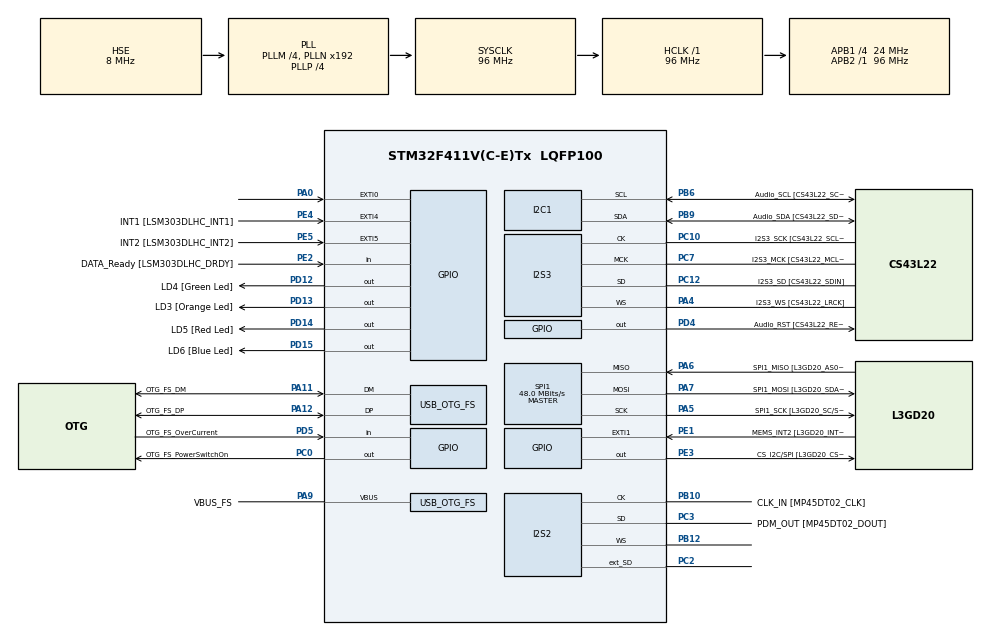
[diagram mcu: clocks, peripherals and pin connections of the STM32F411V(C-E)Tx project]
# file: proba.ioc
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FREERTOS.Tasks01=defaultTask,24,128,StartDefaultTask,Default,NULL,Dynamic,NULL,NULL
FREERTOS.configUSE_NEWLIB_REENTRANT=1
I2C1.DutyCycle=I2C_DUTYCYCLE_16_9
I2C1.I2C_Mode=I2C_Fast
I2S2.AudioFreq=I2S_AUDIOFREQ_96K
I2S2.ErrorAudioFreq=0.15 %
I2S2.FullDuplexMode=I2S_FULLDUPLEXMODE_ENABLE
I2S2.Instance=SPI$Index
I2S2.RealAudioFreq=96.153 KHz
I2S2.VirtualMode=I2S_MODE_MASTER
I2S3.AudioFreq=I2S_AUDIOFREQ_96K
I2S3.ErrorAudioFreq=-6.99 %
I2S3.FullDuplexMode=I2S_FULLDUPLEXMODE_DISABLE
I2S3.Instance=SPI$Index
I2S3.RealAudioFreq=89.285 KHz
I2S3.VirtualMode=I2S_MODE_MASTER
Mcu.Family=STM32F4
Mcu.Name=STM32F411V(C-E)Tx
Mcu.Package=LQFP100
NVIC.OTG_FS_IRQn=true\:5\:0\:false\:false\:true\:true\:true\:true\:true
NVIC.PriorityGroup=NVIC_PRIORITYGROUP_4
NVIC.TIM2_IRQn=true\:15\:0\:false\:false\:true\:false\:false\:true\:true
NVIC.TimeBase=TIM2_IRQn
NVIC.TimeBaseIP=TIM2
PA0-WKUP.GPIO_ModeDefaultEXTI=GPIO_MODE_EVT_RISING
PA0-WKUP.Signal=GPXTI0
PA10.GPIO_Label=OTG_FS_ID
PA10.Signal=USB_OTG_FS_ID
PA11.GPIO_Label=OTG_FS_DM
PA11.Mode=Device_Only
PA11.Signal=USB_OTG_FS_DM
PA12.GPIO_Label=OTG_FS_DP
PA12.Mode=Device_Only
PA12.Signal=USB_OTG_FS_DP
PA13.GPIO_Label=SWDIO
PA13.Mode=Serial_Wire
PA13.Signal=SYS_JTMS-SWDIO
PA14.GPIO_Label=SWCLK
PA14.Mode=Serial_Wire
PA14.Signal=SYS_JTCK-SWCLK
PA4.GPIO_Label=I2S3_WS [CS43L22_LRCK]
PA4.GPIO_Mode=GPIO_MODE_AF_PP
PA4.GPIO_PuPd=GPIO_NOPULL
PA4.GPIO_Speed=GPIO_SPEED_FREQ_LOW
PA4.Mode=Half_Duplex_Master
PA4.Signal=I2S3_WS
PA5.GPIO_Label=SPI1_SCK [L3GD20_SC/SPC]
PA5.Mode=Full_Duplex_Master
PA5.Signal=SPI1_SCK
PA6.GPIO_Label=SPI1_MISO [L3GD20_AS0/SDO]
PA6.Mode=Full_Duplex_Master
PA6.Signal=SPI1_MISO
PA7.GPIO_Label=SPI1_MOSI [L3GD20_SDA/SDI/SDO]
PA7.Mode=Full_Duplex_Master
PA7.Signal=SPI1_MOSI
PA9.GPIO_Label=VBUS_FS
PA9.Mode=Activate_VBUS
PA9.Signal=USB_OTG_FS_VBUS
PB10.GPIO_Label=CLK_IN [MP45DT02_CLK]
PB10.Mode=Full_Duplex_Master
PB10.Signal=I2S2_CK
PB12.Mode=Full_Duplex_Master
PB12.Signal=I2S2_WS
PB3.GPIO_Label=SWO
PB3.Signal=SYS_JTDO-SWO
PB6.GPIO_Label=Audio_SCL [CS43L22_SCL]
PB6.GPIO_Mode=GPIO_MODE_AF_OD
PB6.GPIO_Pu=GPIO_PULLUP
PB6.GPIO_PuPd=GPIO_NOPULL
PB6.GPIO_Speed=GPIO_SPEED_FREQ_LOW
PB6.Mode=I2C
PB6.Signal=I2C1_SCL
PB9.GPIO_Label=Audio_SDA [CS43L22_SDA]
PB9.GPIO_Mode=GPIO_MODE_AF_OD
PB9.GPIO_Pu=GPIO_PULLUP
PB9.GPIO_PuPd=GPIO_NOPULL
PB9.GPIO_Speed=GPIO_SPEED_FREQ_LOW
PB9.Mode=I2C
PB9.Signal=I2C1_SDA
PC0.GPIO_Label=OTG_FS_PowerSwitchOn
PC0.PinState=GPIO_PIN_SET
PC0.Signal=GPIO_Output
PC10.GPIO_Label=I2S3_SCK [CS43L22_SCLK]
PC10.GPIO_Mode=GPIO_MODE_AF_PP
PC10.GPIO_PuPd=GPIO_NOPULL
PC10.GPIO_Speed=GPIO_SPEED_FREQ_LOW
PC10.Mode=Half_Duplex_Master
PC10.Signal=I2S3_CK
PC12.GPIO_Label=I2S3_SD [CS43L22_SDIN]
PC12.GPIO_Mode=GPIO_MODE_AF_PP
PC12.GPIO_PuPd=GPIO_NOPULL
PC12.GPIO_Speed=GPIO_SPEED_FREQ_LOW
PC12.Mode=Half_Duplex_Master
PC12.Signal=I2S3_SD
PC14-OSC32_IN.GPIO_Label=PC14-OSC32_IN
PC14-OSC32_IN.Mode=LSE-External-Oscillator
PC14-OSC32_IN.Signal=RCC_OSC32_IN
PC15-OSC32_OUT.GPIO_Label=PC15-OSC32_OUT
PC15-OSC32_OUT.Mode=LSE-External-Oscillator
PC15-OSC32_OUT.Signal=RCC_OSC32_OUT
PC2.Mode=Full_Duplex_Master
PC2.Signal=I2S2_ext_SD
PC3.GPIO_Label=PDM_OUT [MP45DT02_DOUT]
PC3.Mode=Full_Duplex_Master
PC3.Signal=I2S2_SD
PC7.GPIO_Label=I2S3_MCK [CS43L22_MCLK]
PC7.GPIO_Mode=GPIO_MODE_AF_PP
PC7.GPIO_PuPd=GPIO_NOPULL
PC7.GPIO_Speed=GPIO_SPEED_FREQ_LOW
PC7.Mode=Master_Clock_Activated
PC7.Signal=I2S3_MCK
PD12.GPIO_Label=LD4 [Green Led]
PD12.GPIO_PuPd=GPIO_NOPULL
PD12.GPIO_Speed=GPIO_SPEED_FREQ_LOW
PD12.Signal=GPIO_Output
PD13.GPIO_Label=LD3 [Orange Led]
PD13.GPIO_PuPd=GPIO_NOPULL
PD13.GPIO_Speed=GPIO_SPEED_FREQ_LOW
PD13.Signal=GPIO_Output
PD14.GPIO_Label=LD5 [Red Led]
PD14.GPIO_PuPd=GPIO_NOPULL
PD14.GPIO_Speed=GPIO_SPEED_FREQ_LOW
PD14.Signal=GPIO_Output
PD15.GPIO_Label=LD6 [Blue Led]
PD15.GPIO_PuPd=GPIO_NOPULL
PD15.GPIO_Speed=GPIO_SPEED_FREQ_LOW
PD15.Signal=GPIO_Output
PD4.GPIO_Label=Audio_RST [CS43L22_RESET]
PD4.Signal=GPIO_Output
PD5.GPIO_Label=OTG_FS_OverCurrent
PD5.Signal=GPIO_Input
PE1.GPIO_Label=MEMS_INT2 [L3GD20_INT2]
PE1.GPIO_ModeDefaultEXTI=GPIO_MODE_EVT_RISING
PE1.Signal=GPXTI1
PE2.GPIO_Label=DATA_Ready [LSM303DLHC_DRDY]
PE2.Signal=GPIO_Input
PE3.GPIO_Label=CS_I2C/SPI [L3GD20_CS_I2C/SPI]
PE3.Signal=GPIO_Output
PE4.GPIO_Label=INT1 [LSM303DLHC_INT1]
PE4.GPIO_ModeDefaultEXTI=GPIO_MODE_EVT_RISING
PE4.Signal=GPXTI4
PE5.GPIO_Label=INT2 [LSM303DLHC_INT2]
PE5.GPIO_ModeDefaultEXTI=GPIO_MODE_EVT_RISING
PE5.Signal=GPXTI5
PH0\ -\ OSC_IN.GPIO_Label=PH0-OSC_IN
PH0\ -\ OSC_IN.Mode=HSE-External-Oscillator
PH0\ -\ OSC_IN.Signal=RCC_OSC_IN
PH1\ -\ OSC_OUT.GPIO_Label=PH1-OSC_OUT
PH1\ -\ OSC_OUT.Mode=HSE-External-Oscillator
PH1\ -\ OSC_OUT.Signal=RCC_OSC_OUT
ProjectManager.HeapSize=0x200
ProjectManager.StackSize=0x400
ProjectManager.TargetToolchain=STM32CubeIDE
RCC.48MHZClocksFreq_Value=48000000
RCC.AHBFreq_Value=96000000
RCC.APB1CLKDivider=RCC_HCLK_DIV4
RCC.APB1Freq_Value=24000000
RCC.APB1TimFreq_Value=48000000
RCC.APB2Freq_Value=96000000
RCC.APB2TimFreq_Value=96000000
RCC.CortexFreq_Value=96000000
RCC.HCLKFreq_Value=96000000
RCC.HSE_VALUE=8000000
RCC.HSI_VALUE=16000000
RCC.PLLI2SM=5
RCC.PLLI2SN=200
RCC.PLLM=4
RCC.PLLP=RCC_PLLP_DIV4
RCC.PLLQ=8
RCC.SYSCLKFreq_VALUE=96000000
RCC.SYSCLKSource=RCC_SYSCLKSOURCE_PLLCLK
RCC.VCOOutputFreq_Value=384000000
SPI1.BaudRatePrescaler=SPI_BAUDRATEPRESCALER_2
SPI1.CalculateBaudRate=48.0 MBits/s
SPI1.Direction=SPI_DIRECTION_2LINES
SPI1.Mode=SPI_MODE_MASTER
SPI1.VirtualType=VM_MASTER
USB_DEVICE.CLASS_NAME_FS=CDC
USB_DEVICE.PRODUCT_STRING_CDC_FS=Skupina\: Skupina STM
USB_DEVICE.VirtualMode=Cdc
USB_DEVICE.VirtualModeFS=Cdc_FS
USB_OTG_FS.VirtualMode=Device_Only
VP_FREERTOS_VS_CMSIS_V2.Mode=CMSIS_V2
VP_SYS_VS_tim2.Mode=TIM2
VP_USB_DEVICE_VS_USB_DEVICE_CDC_FS.Mode=CDC_FS
board=STM32F411E-DISCO

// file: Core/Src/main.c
/* USER CODE BEGIN Header */
/**
  ******************************************************************************
  * @file           : main.c
  * @brief          : Main program body
  ******************************************************************************
  * @attention
  *
  * Copyright (c) 2025 STMicroelectronics.
  * All rights reserved.
  *
  * This software is licensed under terms that can be found in the LICENSE file
  * in the root directory of this software component.
  * If no LICENSE file comes with this software, it is provided AS-IS.
  *
  ******************************************************************************
  */
/* USER CODE END Header */
#include "main.h"
#include "cmsis_os.h"
#include "usb_device.h"

/* USER CODE BEGIN Includes */
#include "FreeRTOS.h"
#include <stdbool.h>
#include "queue.h"
/* USER CODE END Includes */

I2C_HandleTypeDef hi2c1;

I2S_HandleTypeDef hi2s2;
I2S_HandleTypeDef hi2s3;

SPI_HandleTypeDef hspi1;

/* Definitions for defaultTask */
osThreadId_t defaultTaskHandle;
const osThreadAttr_t defaultTask_attributes = {
  .name = "defaultTask",
  .stack_size = 128 * 4,
  .priority = (osPriority_t) osPriorityNormal,
};
/* USER CODE BEGIN PV */
TaskHandle_t Opravilo_LEDHandle;
TaskHandle_t Opravilo_pospeskometerHandle;

QueueHandle_t cdcTxQueue;
QueueHandle_t cdcRxQueue;
/* USER CODE END PV */

void SystemClock_Config(void);
void PeriphCommonClock_Config(void);
static void MX_GPIO_Init(void);
static void MX_I2C1_Init(void);
static void MX_I2S2_Init(void);
static void MX_I2S3_Init(void);
static void MX_SPI1_Init(void);
void StartDefaultTask(void *argument);

/* USER CODE BEGIN PFP */

uint8_t i2c1_pisiRegister(uint8_t, uint8_t, uint8_t);
void i2c1_beriRegistre(uint8_t, uint8_t, uint8_t*, uint8_t);
void initAccelerometer(void);

void Opravilo_LED(void *argument);				// GPIO prizig LED diode ob prejetju signala
void Opravilo_pospeskometer(void *argument);	// periodicno branje pospeskometra

void Opravilo_CDC_Receive(void *argument);
void Opravilo_CDC_Transmit(void *argument);

/* USER CODE END PFP */

/* USER CODE BEGIN 0 */

uint8_t i2c1_pisiRegister(uint8_t naprava, uint8_t reg, uint8_t podatek) {
    naprava <<= 1;
    return HAL_I2C_Mem_Write(&hi2c1, naprava, reg, I2C_MEMADD_SIZE_8BIT, &podatek, 1, 10);
}

void i2c1_beriRegistre(uint8_t naprava, uint8_t reg, uint8_t* podatek, uint8_t dolzina) {
    if ((dolzina>1)&&(naprava==0x19))  // ce je naprava 0x19 moramo postaviti ta bit, ce zelimo brati vec zlogov
        reg |= 0x80;
    naprava <<= 1;
    HAL_I2C_Mem_Read(&hi2c1, naprava, reg, I2C_MEMADD_SIZE_8BIT, podatek, dolzina, dolzina);
}

void initAccelerometer() {
    // inicializiraj pospeskometer
    i2c1_pisiRegister(0x19, 0x20, 0x27);  // zbudi pospeskometer in omogoci osi
    i2c1_pisiRegister(0x19, 0x23, 0x88);  // nastavi posodobitev samo ko se prebere vrednost ter visoko locljivost
}

/* USER CODE END 0 */

int main(void)
{

  /* MCU Configuration--------------------------------------------------------*/

  /* Reset of all peripherals, Initializes the Flash interface and the Systick. */
  HAL_Init();

  /* Configure the system clock */
  SystemClock_Config();

/* Configure the peripherals common clocks */
  PeriphCommonClock_Config();

  /* USER CODE BEGIN SysInit */
  MX_USB_DEVICE_Init();  // Initialize USB before FreeRTOS
  /* USER CODE END SysInit */

  /* Initialize all configured peripherals */
  MX_GPIO_Init();
  MX_I2C1_Init();
  MX_I2S2_Init();
  MX_I2S3_Init();
  MX_SPI1_Init();
  /* USER CODE BEGIN 2 */

  __HAL_I2C_ENABLE(&hi2c1);

  initAccelerometer();

  // Ustvari queue za interakcijo med opravili
  cdcTxQueue = xQueueCreate(10, sizeof(uint32_t)); // 10 slots for 32-bit packets
  if (cdcTxQueue == NULL) {
	  Error_Handler(); // Handle queue creation failure
  }

  /* USER CODE END 2 */

  /* Init scheduler */
  osKernelInitialize();

  /* USER CODE BEGIN RTOS_QUEUES */
  /* add queues, ... */

  xTaskCreate(Opravilo_pospeskometer, "Opravilo pospeskometer", 128, NULL, 1, &Opravilo_pospeskometerHandle);
  xTaskCreate(Opravilo_LED, "Opravilo LED", 128, NULL, 2, &Opravilo_LEDHandle);

  xTaskCreate(Opravilo_CDC_Receive, "CDC Receive", 512, NULL, 2, NULL);
  xTaskCreate(Opravilo_CDC_Transmit, "CDC Send", 512, NULL, 2, NULL);

  /* Start Scheduler */
  vTaskStartScheduler();

  /* USER CODE END RTOS_QUEUES */

  /* Create the thread(s) */
  /* creation of defaultTask */
  defaultTaskHandle = osThreadNew(StartDefaultTask, NULL, &defaultTask_attributes);

  /* Start scheduler */
  osKernelStart();

  /* We should never get here as control is now taken by the scheduler */
  /* Infinite loop */
  while (1)
  {

  }
}

void SystemClock_Config(void)
{
  RCC_OscInitTypeDef RCC_OscInitStruct = {0};
  RCC_ClkInitTypeDef RCC_ClkInitStruct = {0};

  /** Configure the main internal regulator output voltage
  */
  __HAL_RCC_PWR_CLK_ENABLE();
  __HAL_PWR_VOLTAGESCALING_CONFIG(PWR_REGULATOR_VOLTAGE_SCALE1);

  /** Initializes the RCC Oscillators according to the specified parameters
  * in the RCC_OscInitTypeDef structure.
  */
  RCC_OscInitStruct.OscillatorType = RCC_OSCILLATORTYPE_HSE;
  RCC_OscInitStruct.HSEState = RCC_HSE_ON;
  RCC_OscInitStruct.PLL.PLLState = RCC_PLL_ON;
  RCC_OscInitStruct.PLL.PLLSource = RCC_PLLSOURCE_HSE;
  RCC_OscInitStruct.PLL.PLLM = 4;
  RCC_OscInitStruct.PLL.PLLN = 192;
  RCC_OscInitStruct.PLL.PLLP = RCC_PLLP_DIV4;
  RCC_OscInitStruct.PLL.PLLQ = 8;
  if (HAL_RCC_OscConfig(&RCC_OscInitStruct) != HAL_OK)
  {
    Error_Handler();
  }

  /** Initializes the CPU, AHB and APB buses clocks
  */
  RCC_ClkInitStruct.ClockType = RCC_CLOCKTYPE_HCLK|RCC_CLOCKTYPE_SYSCLK
                              |RCC_CLOCKTYPE_PCLK1|RCC_CLOCKTYPE_PCLK2;
  RCC_ClkInitStruct.SYSCLKSource = RCC_SYSCLKSOURCE_PLLCLK;
  RCC_ClkInitStruct.AHBCLKDivider = RCC_SYSCLK_DIV1;
  RCC_ClkInitStruct.APB1CLKDivider = RCC_HCLK_DIV4;
  RCC_ClkInitStruct.APB2CLKDivider = RCC_HCLK_DIV1;

  if (HAL_RCC_ClockConfig(&RCC_ClkInitStruct, FLASH_LATENCY_3) != HAL_OK)
  {
    Error_Handler();
  }
}

void PeriphCommonClock_Config(void)
{
  RCC_PeriphCLKInitTypeDef PeriphClkInitStruct = {0};

  /** Initializes the peripherals clock
  */
  PeriphClkInitStruct.PeriphClockSelection = RCC_PERIPHCLK_I2S;
  PeriphClkInitStruct.PLLI2S.PLLI2SN = 200;
  PeriphClkInitStruct.PLLI2S.PLLI2SM = 5;
  PeriphClkInitStruct.PLLI2S.PLLI2SR = 2;
  if (HAL_RCCEx_PeriphCLKConfig(&PeriphClkInitStruct) != HAL_OK)
  {
    Error_Handler();
  }
}

static void MX_I2C1_Init(void)
{

  hi2c1.Instance = I2C1;
  hi2c1.Init.ClockSpeed = 400000;
  hi2c1.Init.DutyCycle = I2C_DUTYCYCLE_16_9;
  hi2c1.Init.OwnAddress1 = 0;
  hi2c1.Init.AddressingMode = I2C_ADDRESSINGMODE_7BIT;
  hi2c1.Init.DualAddressMode = I2C_DUALADDRESS_DISABLE;
  hi2c1.Init.OwnAddress2 = 0;
  hi2c1.Init.GeneralCallMode = I2C_GENERALCALL_DISABLE;
  hi2c1.Init.NoStretchMode = I2C_NOSTRETCH_DISABLE;
  if (HAL_I2C_Init(&hi2c1) != HAL_OK)
  {
    Error_Handler();
  }

}

static void MX_I2S2_Init(void)
{

  hi2s2.Instance = SPI2;
  hi2s2.Init.Mode = I2S_MODE_MASTER_TX;
  hi2s2.Init.Standard = I2S_STANDARD_PHILIPS;
  hi2s2.Init.DataFormat = I2S_DATAFORMAT_16B;
  hi2s2.Init.MCLKOutput = I2S_MCLKOUTPUT_DISABLE;
  hi2s2.Init.AudioFreq = I2S_AUDIOFREQ_96K;
  hi2s2.Init.CPOL = I2S_CPOL_LOW;
  hi2s2.Init.ClockSource = I2S_CLOCK_PLL;
  hi2s2.Init.FullDuplexMode = I2S_FULLDUPLEXMODE_ENABLE;
  if (HAL_I2S_Init(&hi2s2) != HAL_OK)
  {
    Error_Handler();
  }

}

static void MX_I2S3_Init(void)
{

  hi2s3.Instance = SPI3;
  hi2s3.Init.Mode = I2S_MODE_MASTER_TX;
  hi2s3.Init.Standard = I2S_STANDARD_PHILIPS;
  hi2s3.Init.DataFormat = I2S_DATAFORMAT_16B;
  hi2s3.Init.MCLKOutput = I2S_MCLKOUTPUT_ENABLE;
  hi2s3.Init.AudioFreq = I2S_AUDIOFREQ_96K;
  hi2s3.Init.CPOL = I2S_CPOL_LOW;
  hi2s3.Init.ClockSource = I2S_CLOCK_PLL;
  hi2s3.Init.FullDuplexMode = I2S_FULLDUPLEXMODE_DISABLE;
  if (HAL_I2S_Init(&hi2s3) != HAL_OK)
  {
    Error_Handler();
  }

}

static void MX_SPI1_Init(void)
{

  /* SPI1 parameter configuration*/
  hspi1.Instance = SPI1;
  hspi1.Init.Mode = SPI_MODE_MASTER;
  hspi1.Init.Direction = SPI_DIRECTION_2LINES;
  hspi1.Init.DataSize = SPI_DATASIZE_8BIT;
  hspi1.Init.CLKPolarity = SPI_POLARITY_LOW;
  hspi1.Init.CLKPhase = SPI_PHASE_1EDGE;
  hspi1.Init.NSS = SPI_NSS_SOFT;
  hspi1.Init.BaudRatePrescaler = SPI_BAUDRATEPRESCALER_2;
  hspi1.Init.FirstBit = SPI_FIRSTBIT_MSB;
  hspi1.Init.TIMode = SPI_TIMODE_DISABLE;
  hspi1.Init.CRCCalculation = SPI_CRCCALCULATION_DISABLE;
  hspi1.Init.CRCPolynomial = 10;
  if (HAL_SPI_Init(&hspi1) != HAL_OK)
  {
    Error_Handler();
  }

}

static void MX_GPIO_Init(void)
{
  GPIO_InitTypeDef GPIO_InitStruct = {0};

  /* GPIO Ports Clock Enable */
  __HAL_RCC_GPIOE_CLK_ENABLE();
  __HAL_RCC_GPIOC_CLK_ENABLE();
  __HAL_RCC_GPIOH_CLK_ENABLE();
  __HAL_RCC_GPIOA_CLK_ENABLE();
  __HAL_RCC_GPIOB_CLK_ENABLE();
  __HAL_RCC_GPIOD_CLK_ENABLE();

  /*Configure GPIO pin Output Level */
  HAL_GPIO_WritePin(CS_I2C_SPI_GPIO_Port, CS_I2C_SPI_Pin, GPIO_PIN_RESET);

  /*Configure GPIO pin Output Level */
  HAL_GPIO_WritePin(OTG_FS_PowerSwitchOn_GPIO_Port, OTG_FS_PowerSwitchOn_Pin, GPIO_PIN_SET);

  /*Configure GPIO pin Output Level */
  HAL_GPIO_WritePin(GPIOD, LD4_Pin|LD3_Pin|LD5_Pin|LD6_Pin
                          |Audio_RST_Pin, GPIO_PIN_RESET);

  /*Configure GPIO pin : DATA_Ready_Pin */
  GPIO_InitStruct.Pin = DATA_Ready_Pin;
  GPIO_InitStruct.Mode = GPIO_MODE_INPUT;
  GPIO_InitStruct.Pull = GPIO_NOPULL;
  HAL_GPIO_Init(DATA_Ready_GPIO_Port, &GPIO_InitStruct);

  /*Configure GPIO pin : CS_I2C_SPI_Pin */
  GPIO_InitStruct.Pin = CS_I2C_SPI_Pin;
  GPIO_InitStruct.Mode = GPIO_MODE_OUTPUT_PP;
  GPIO_InitStruct.Pull = GPIO_NOPULL;
  GPIO_InitStruct.Speed = GPIO_SPEED_FREQ_LOW;
  HAL_GPIO_Init(CS_I2C_SPI_GPIO_Port, &GPIO_InitStruct);

  /*Configure GPIO pins : INT1_Pin INT2_Pin MEMS_INT2_Pin */
  GPIO_InitStruct.Pin = INT1_Pin|INT2_Pin|MEMS_INT2_Pin;
  GPIO_InitStruct.Mode = GPIO_MODE_EVT_RISING;
  GPIO_InitStruct.Pull = GPIO_NOPULL;
  HAL_GPIO_Init(GPIOE, &GPIO_InitStruct);

  /*Configure GPIO pin : OTG_FS_PowerSwitchOn_Pin */
  GPIO_InitStruct.Pin = OTG_FS_PowerSwitchOn_Pin;
  GPIO_InitStruct.Mode = GPIO_MODE_OUTPUT_PP;
  GPIO_InitStruct.Pull = GPIO_NOPULL;
  GPIO_InitStruct.Speed = GPIO_SPEED_FREQ_LOW;
  HAL_GPIO_Init(OTG_FS_PowerSwitchOn_GPIO_Port, &GPIO_InitStruct);

  /*Configure GPIO pin : PA0 */
  GPIO_InitStruct.Pin = GPIO_PIN_0;
  GPIO_InitStruct.Mode = GPIO_MODE_EVT_RISING;
  GPIO_InitStruct.Pull = GPIO_NOPULL;
  HAL_GPIO_Init(GPIOA, &GPIO_InitStruct);

  /*Configure GPIO pins : LD4_Pin LD3_Pin LD5_Pin LD6_Pin
                           Audio_RST_Pin */
  GPIO_InitStruct.Pin = LD4_Pin|LD3_Pin|LD5_Pin|LD6_Pin
                          |Audio_RST_Pin;
  GPIO_InitStruct.Mode = GPIO_MODE_OUTPUT_PP;
  GPIO_InitStruct.Pull = GPIO_NOPULL;
  GPIO_InitStruct.Speed = GPIO_SPEED_FREQ_LOW;
  HAL_GPIO_Init(GPIOD, &GPIO_InitStruct);

  /*Configure GPIO pin : OTG_FS_OverCurrent_Pin */
  GPIO_InitStruct.Pin = OTG_FS_OverCurrent_Pin;
  GPIO_InitStruct.Mode = GPIO_MODE_INPUT;
  GPIO_InitStruct.Pull = GPIO_NOPULL;
  HAL_GPIO_Init(OTG_FS_OverCurrent_GPIO_Port, &GPIO_InitStruct);

}

/* USER CODE BEGIN 4 */

/* USER CODE BEGIN 4 */

void Opravilo_LED(void *argument)
{
    char *msg;
    while (1) {
        // Prejmi sporočilo iz vrste
        if (xQueueReceive(cdcRxQueue, &msg, portMAX_DELAY) == pdPASS) {
            // Preveri, ali je sporočilo "ON" ali "OFF"
            if (strcmp(msg, "ON") == 0) {
                HAL_GPIO_WritePin(GPIOD, GPIO_PIN_14, GPIO_PIN_SET);  // Prizgi LED
            } else if (strcmp(msg, "OFF") == 0) {
                HAL_GPIO_WritePin(GPIOD, GPIO_PIN_14, GPIO_PIN_RESET);  // Ugasi LED
            }
        }
    }
}

// S prisitkom na gumb PB1 se aktivira oz. onemogoci delovanje pospeskometra (toggle)
// Kadar je omogoceno posiljanje podatkov sveti zelena LED
// Modra led nakazuje, ce se podatki posiljajo in se se niso prebrali na PC-ju
// Podatki se posljejo ob spremembi stanja
void Opravilo_pospeskometer(void *argument)
{
	uint8_t gumb_stisnjen = 0;

	bool prvi_pritisk = false;			// CDC ON
	bool drugi_pritisk = true;			// CDC OFF

	int16_t meritev;					// Hrani meritev iz pospeskometra v vsaki iteraciji opravila

	int16_t paket[2];					// hrani paket, ki se bo ob vsaki spremembi smeri voznje poslal na PC
	paket[0] = 0xaaab;					// glava za zaznamek zacetek paketa
	paket[1] = 0xcccf;					// privzeto se "premika naprej"

	int16_t prejsnji_paket = 0x00000;	// hrani prejsnji paket, da se lahko preverja sprememba smeri voznje

	// Neskoncna zanka, kejr se zaznavajo pritiski na gumb, izvajajo meritve senzorja ter klicejo opravila za posiljanje na PC
	while(1)
	{
		// Preverimo ce je gumb pritisnjen in ce gumb pred tem se ni bil stisnjen
		if (HAL_GPIO_ReadPin(GPIOA, GPIO_PIN_0) == GPIO_PIN_SET && gumb_stisnjen == 0)
		{
			// Gumb je sedaj stisnjen
			gumb_stisnjen = 1;

			if(prvi_pritisk == true){
				drugi_pritisk = true;
				prvi_pritisk = false;
			}
			else if(drugi_pritisk == true){
				prvi_pritisk = true;
				drugi_pritisk = false;
			}
		}

		// Debounncing logika
		// preverimo ce je bil gumb spuscen
		// ce je bil potem sele nato dovolimo ponovni zamenjavi stanj
		if (HAL_GPIO_ReadPin(GPIOA, GPIO_PIN_0) == GPIO_PIN_RESET && gumb_stisnjen == 1) {
			// Gumb sedaj ni stisnjen
			gumb_stisnjen = 0;
		}

		i2c1_beriRegistre(0x19, 0x28, (uint8_t*)&meritev, 2); // Izvedemo meritev Y-osi na pospeskometru

		// Aktiviraj/deaktiviraj CDC - LD12 (zelena LED) na ploscici nakazuje stanje CDC prenosa
		if(prvi_pritisk == true){
			// CDC prenos omogocen

			HAL_GPIO_WritePin(GPIOD, GPIO_PIN_12, GPIO_PIN_SET);		// Prenos preko CDC bo omogocen, zato prizgemo zeleno LED

			if(meritev <= -500){
				paket[1] = 0xfffc;
				HAL_GPIO_WritePin(GPIOD, GPIO_PIN_15, GPIO_PIN_SET);	// Prizgi modro? LED

			}
			else if(meritev >= 1500){
				paket[1] = 0xcccf;
				HAL_GPIO_WritePin(GPIOD, GPIO_PIN_15, GPIO_PIN_RESET);	// Ugasni modro? LED
			}

			if (prejsnji_paket != paket[1]){

				HAL_GPIO_TogglePin(GPIOD, GPIO_PIN_15);
				// Poslji paket v queue
				if (xQueueSend(cdcTxQueue, &paket, 0) == pdPASS) {
					HAL_GPIO_TogglePin(GPIOD, GPIO_PIN_15);
				}
				HAL_GPIO_TogglePin(GPIOD, GPIO_PIN_15);

				prejsnji_paket = paket[1];
			}

			vTaskDelay(pdMS_TO_TICKS(10));
		}

		if(drugi_pritisk == true){
			// CDC prenos onemogocen
			HAL_GPIO_WritePin(GPIOD, GPIO_PIN_12, GPIO_PIN_RESET);		// Prenos preko CDC ne bo omogocen, zato ugansemo zeleno LED
		}
	}
}

void Opravilo_CDC_Receive(void *argument)
{
//    uint8_t rxBuffer[32];  // Buffer za prejete podatke
//    uint32_t len;
//    char buffer[64];
//    uint32_t len;

   while (1)
    {
        // Pocakamo da se podatki prejmejo
//        if (CDC_Receive_FS(rxBuffer, &len) == USBD_OK)
//        {
//            // Pocakamo da se podatki prejmejo
//            xQueueSend(cdcRxQueue, rxBuffer, portMAX_DELAY);
//        }
       // Sprejmi podatke iz CDC
//       len = CDC_Receive_FS((uint8_t *)buffer, sizeof(buffer));
//       if (len > 0) {
//           buffer[len] = '\0';  // Zaključi niz
//           xQueueSend(cdcRxQueue, &buffer, portMAX_DELAY);
//       }

        vTaskDelay(pdMS_TO_TICKS(10)); // Majhna zakasnitev
    }
}

void Opravilo_CDC_Transmit(void *argument) {
	uint32_t txPacket; // Buffer za paket, kis e bo posiljal

	while (1) {
		// Pocakamo, da paket prispe v queue
		if (xQueueReceive(cdcTxQueue, &txPacket, portMAX_DELAY) == pdPASS) {
			// Poslji paket preko USB
			CDC_Transmit_FS((uint8_t *)&txPacket, sizeof(txPacket));
		}

		vTaskDelay(pdMS_TO_TICKS(10)); // Delay za task switching
	}
}

/* USER CODE END 4 */

void StartDefaultTask(void *argument)
{
  /* init code for USB_DEVICE */
  MX_USB_DEVICE_Init();
  for(;;)
  {
    osDelay(1);
  }
}

void HAL_TIM_PeriodElapsedCallback(TIM_HandleTypeDef *htim)
{
  if (htim->Instance == TIM2) {
    HAL_IncTick();
  }
}

void Error_Handler(void)
{
  __disable_irq();
  while (1)
  {
  }
}
